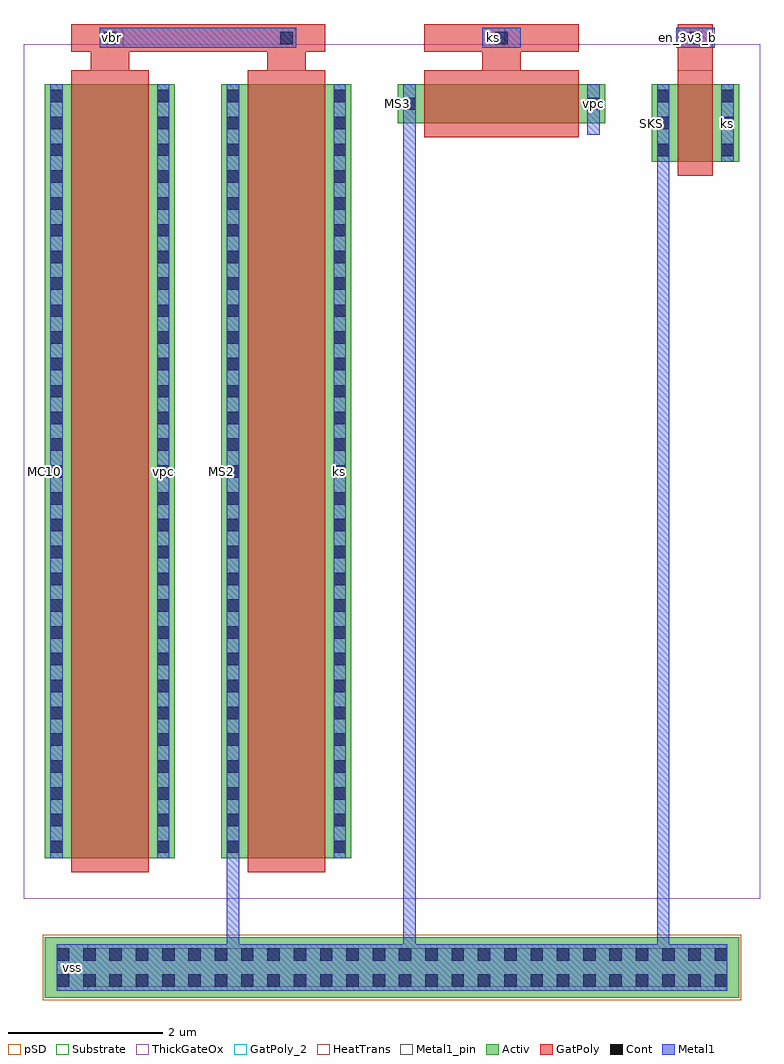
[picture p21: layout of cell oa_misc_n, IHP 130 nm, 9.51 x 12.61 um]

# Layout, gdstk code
import gdstk
lib = gdstk.Library(unit=1e-6, precision=1e-09)
def R(c, l, rs):  # rectangles x0, y0, x1, y1
    for r in rs: c.add(gdstk.rectangle(r[:2], r[2:], *l))
def A(c, l, x, y, w, h, nx, ny, dx, dy):  # array of equal rectangles
    R(c, l, [(x+i*dx, y+j*dy, x+i*dx+w, y+j*dy+h) for i in range(nx) for j in range(ny)])
Activ = (1, 0)
GatPoly = (5, 0)
GatPoly_2 = (5, 2)
Cont = (6, 0)
Metal1 = (8, 0)
Metal1_pin = (8, 2)
pSD = (14, 0)
Substrate = (40, 0)
ThickGateOx = (44, 0)
HeatTrans = (51, 0)

nmoshv_7 = lib.new_cell('nmosHV$7')
R(nmoshv_7, Activ, [(0,0,0.3,0.3), (0,0,1.68,10), (1.38,0,1.68,0.3)])
R(nmoshv_7, GatPoly, [(0.34,-0.18,1.34,10.18)])
R(nmoshv_7, GatPoly_2, [(0.34,-0.18,1.34,10.18)])
A(nmoshv_7, Cont, 0.07, 0.07, 0.16, 0.16, 1, 4, 0, 0.345)
A(nmoshv_7, Cont, 1.45, 0.07, 0.16, 0.16, 1, 4, 0, 0.345)
A(nmoshv_7, Cont, 0.07, 1.455, 0.16, 0.16, 1, 3, 0, 0.345)
A(nmoshv_7, Cont, 1.45, 1.455, 0.16, 0.16, 1, 3, 0, 0.345)
A(nmoshv_7, Cont, 0.07, 2.495, 0.16, 0.16, 1, 4, 0, 0.345)
A(nmoshv_7, Cont, 1.45, 2.495, 0.16, 0.16, 1, 4, 0, 0.345)
A(nmoshv_7, Cont, 0.07, 3.88, 0.16, 0.16, 1, 3, 0, 0.345)
A(nmoshv_7, Cont, 1.45, 3.88, 0.16, 0.16, 1, 3, 0, 0.345)
A(nmoshv_7, Cont, 0.07, 4.92, 0.16, 0.16, 1, 4, 0, 0.345)
A(nmoshv_7, Cont, 1.45, 4.92, 0.16, 0.16, 1, 4, 0, 0.345)
A(nmoshv_7, Cont, 0.07, 6.305, 0.16, 0.16, 1, 3, 0, 0.345)
A(nmoshv_7, Cont, 1.45, 6.305, 0.16, 0.16, 1, 3, 0, 0.345)
A(nmoshv_7, Cont, 0.07, 7.345, 0.16, 0.16, 1, 4, 0, 0.345)
A(nmoshv_7, Cont, 1.45, 7.345, 0.16, 0.16, 1, 4, 0, 0.345)
A(nmoshv_7, Cont, 0.07, 8.73, 0.16, 0.16, 1, 3, 0, 0.345)
A(nmoshv_7, Cont, 1.45, 8.73, 0.16, 0.16, 1, 3, 0, 0.345)
R(nmoshv_7, Cont, [(0.07,9.77,0.23,9.93), (1.45,9.77,1.61,9.93)])
R(nmoshv_7, Metal1, [(0.07,0,0.23,10), (1.45,0,1.61,10)])
R(nmoshv_7, Metal1_pin, [(0.07,0,0.23,10), (1.45,0,1.61,10)])
R(nmoshv_7, ThickGateOx, [(-0.27,-0.52,1.95,10.52)])
R(nmoshv_7, HeatTrans, [(0.34,-0.18,1.34,10.18)])
nmoshv_7.add(gdstk.Label('nmosHV', (0.84,5), layer=63, texttype=0))
nmoshv_7.add(gdstk.Label('nmosHV', (0.84,5), layer=51, texttype=0))

nmoshv_9 = lib.new_cell('nmosHV$9')
R(nmoshv_9, Activ, [(0,0,0.3,0.3), (0,0,2.68,0.5), (2.38,0,2.68,0.3)])
R(nmoshv_9, GatPoly, [(0.34,-0.18,2.34,0.68)])
R(nmoshv_9, GatPoly_2, [(0.34,-0.18,2.34,0.68)])
R(nmoshv_9, Cont, [(0.07,0.17,0.23,0.33), (2.45,0.17,2.61,0.33)])
R(nmoshv_9, Metal1, [(0.07,0,0.23,0.5), (2.45,0,2.61,0.5)])
R(nmoshv_9, Metal1_pin, [(0.07,0,0.23,0.5), (2.45,0,2.61,0.5)])
R(nmoshv_9, ThickGateOx, [(-0.27,-0.52,2.95,1.02)])
R(nmoshv_9, HeatTrans, [(0.34,-0.18,2.34,0.68)])
nmoshv_9.add(gdstk.Label('nmosHV', (1.34,0.25), layer=63, texttype=0))
nmoshv_9.add(gdstk.Label('nmosHV', (1.34,0.25), layer=51, texttype=0))

nmoshv_5 = lib.new_cell('nmosHV$5')
R(nmoshv_5, Activ, [(0,0,0.3,0.3), (0,0,1.13,1), (0.83,0,1.13,0.3)])
R(nmoshv_5, GatPoly, [(0.34,-0.18,0.79,1.18)])
R(nmoshv_5, GatPoly_2, [(0.34,-0.18,0.79,1.18)])
A(nmoshv_5, Cont, 0.07, 0.07, 0.16, 0.16, 1, 3, 0, 0.35)
A(nmoshv_5, Cont, 0.9, 0.07, 0.16, 0.16, 1, 3, 0, 0.35)
R(nmoshv_5, Metal1, [(0.07,0,0.23,1), (0.9,0,1.06,1)])
R(nmoshv_5, Metal1_pin, [(0.07,0,0.23,1), (0.9,0,1.06,1)])
R(nmoshv_5, ThickGateOx, [(-0.27,-0.52,1.4,1.52)])
R(nmoshv_5, HeatTrans, [(0.34,-0.18,0.79,1.18)])
nmoshv_5.add(gdstk.Label('nmosHV', (0.565,0.5), layer=63, texttype=0))
nmoshv_5.add(gdstk.Label('nmosHV', (0.565,0.5), layer=51, texttype=0))

ptap1_11 = lib.new_cell('ptap1$11')
R(ptap1_11, Activ, [(0,0,8.97,0.78)])
A(ptap1_11, Cont, 0.155, 0.14, 0.16, 0.16, 26, 2, 0.34, 0.34)
R(ptap1_11, Metal1, [(0.155,0.09,8.815,0.69), (0.155,0.14,8.815,0.64)])
R(ptap1_11, Metal1_pin, [(0.155,0.14,8.815,0.64)])
R(ptap1_11, pSD, [(-0.03,-0.03,9,0.81)])
R(ptap1_11, Substrate, [(0,0,8.97,0.78)])
ptap1_11.add(gdstk.Label('sub!', (4.485,0.01), layer=63, texttype=0))
ptap1_11.add(gdstk.Label('sub!', (4.485,0.01), layer=40, texttype=0))

oa_misc_n = lib.new_cell('oa_misc_n')
R(oa_misc_n, GatPoly, [(0.59,10,1.09,10.43), (2.87,10,3.37,10.43), (5.65,10,6.15,10.43), (8.18,10,8.63,10.43), (0.34,10.42,3.62,10.78), (4.9,10.42,6.9,10.78), (8.18,10.42,8.63,10.78)])
R(oa_misc_n, Cont, [(0.76,10.52,0.92,10.68), (3.04,10.52,3.2,10.68), (5.82,10.52,5.98,10.68), (8.325,10.52,8.485,10.68)])
R(oa_misc_n, Metal1, [(2.35,-1.71,8.07,-1.11), (2.35,-1.21,2.51,0.05), (4.63,-1.21,4.79,9.55), (7.91,-1.21,8.07,9.05), (4.63,9.35,4.79,10), (7.01,9.35,7.17,10), (0.71,10.47,3.25,10.73), (5.65,10.47,6.15,10.73), (8.155,10.47,8.655,10.73)])
R(oa_misc_n, Metal1_pin, [(0.155,-1.71,0.555,-1.11), (0.07,4.75,0.23,5.25), (1.45,4.75,1.61,5.25), (3.73,4.75,3.89,5.25), (8.74,9.25,8.9,9.75), (7.01,9.5,7.17,10), (0.71,10.47,1.01,10.73), (5.65,10.47,5.95,10.73), (8.155,10.47,8.455,10.73)])
R(oa_misc_n, ThickGateOx, [(-0.27,-0.52,9.24,10.52)])
oa_misc_n.add(gdstk.Reference(nmoshv_7, (0,0)))
oa_misc_n.add(gdstk.Reference(nmoshv_7, (2.28,0)))
oa_misc_n.add(gdstk.Reference(nmoshv_9, (4.56,9.5)))
oa_misc_n.add(gdstk.Reference(nmoshv_5, (7.84,9)))
oa_misc_n.add(gdstk.Reference(ptap1_11, (0,-1.8)))
oa_misc_n.add(gdstk.Label('MC10', (0,5), layer=63, texttype=0))
oa_misc_n.add(gdstk.Label('MS2', (2.28,5), layer=63, texttype=0))
oa_misc_n.add(gdstk.Label('MS3', (4.56,9.75), layer=63, texttype=0))
oa_misc_n.add(gdstk.Label('SKS', (7.84,9.5), layer=63, texttype=0))
oa_misc_n.add(gdstk.Label('vbr', (0.86,10.6), layer=8, texttype=25))
oa_misc_n.add(gdstk.Label('ks', (5.8,10.6), layer=8, texttype=25))
oa_misc_n.add(gdstk.Label('en_3v3_b', (8.305,10.6), layer=8, texttype=25))
oa_misc_n.add(gdstk.Label('vss', (0.355,-1.41), layer=8, texttype=25))
oa_misc_n.add(gdstk.Label('d10', (0.15,5), layer=8, texttype=25))
oa_misc_n.add(gdstk.Label('vpc', (1.53,5), layer=8, texttype=25))
oa_misc_n.add(gdstk.Label('ks', (3.81,5), layer=8, texttype=25))
oa_misc_n.add(gdstk.Label('vpc', (7.09,9.75), layer=8, texttype=25))
oa_misc_n.add(gdstk.Label('ks', (8.82,9.5), layer=8, texttype=25))

lib.write_gds('oa_misc_n.gds')
